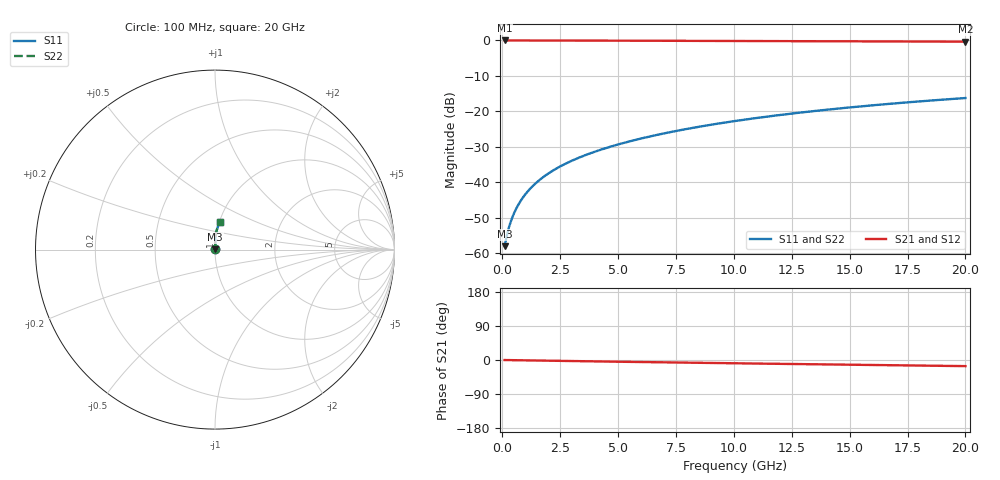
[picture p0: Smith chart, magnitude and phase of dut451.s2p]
! Touchstone file exported from HFSS 2024.1.0
!  File:  C:/UserFiles/LocalFiles/RDL_TSV_Batchsim/temp_RDL_top_451_1779677136.aedt
!  Generated:  10:47:49 AM May 25, 2026
!  Design:  RDL_top
!  Project:  temp_RDL_top_451_1779677136
!  Setup:  Setup1
!  Solution:  Sweep
! Variables:
!  dtsv = 10.80580581um
!  hbump = 3um
!  htsv = 80.75um
!  ldown = 100um
!  lrdl = 231.2um
!  p = 40
!  p1 = 41.04um
!  rhole = 1um
!  t = 450um
!  tdown = 3.915915916um
!  trdl = 4.59um
!  wdown = 15.38538539um
!  wrdl = 21.37um
# GHz S MA R 50.000000
! Terminal data exported
! Port[1] = Box2_T1
! Port[2] = Box2_T2
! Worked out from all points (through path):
!   200 points, 100 MHz to 20 GHz, reference 50 ohm
!   highest |S21| = -0.01 dB at 100 MHz (marker M1); lowest = -0.3 dB at 20 GHz (marker M2)
!   group delay of S21, straight-line fit = 2.22 ps
!   lowest |S11| = -58.0 dB at 100 MHz (marker M3), VSWR 1.00, Z = 50.1 + j0.0749 ohm
!   |S11| at or under -10 dB: start of sweep to end of sweep
!   |S22| runs from -58.0 to -16.3 dB; largest |S21 - S12| = 2.7e-15
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0.1  0.001253 36.7  0.999 -0.1  0.999 -0.1  0.001253 36.7
! Gamma 0 0 0 0
! Port Impedance 50 0 50 0
0.2  0.001798 53.6  0.9989 -0.2  0.9989 -0.2  0.001798 53.6
0.3  0.002389 62.1  0.9988 -0.3  0.9988 -0.3  0.002389 62.1
0.4  0.002993 67.4  0.9988 -0.4  0.9988 -0.4  0.002993 67.4
0.5  0.003606 71.1  0.9987 -0.5  0.9987 -0.5  0.003606 71.1
0.6  0.004229 73.8  0.9987 -0.6  0.9987 -0.6  0.004229 73.8
0.8  0.005495 77.5  0.9986 -0.8  0.9986 -0.8  0.005495 77.5
1.1  0.007429 80.9  0.9984 -1.0  0.9984 -1.0  0.007429 80.9
1.3  0.008732 82.3  0.9982 -1.2  0.9982 -1.2  0.008732 82.3
1.6  0.0107 83.9  0.998 -1.5  0.998 -1.5  0.0107 83.9
2.1  0.01401 85.6  0.9974 -2.0  0.9974 -2.0  0.01401 85.6
2.7  0.01804 86.9  0.9966 -2.5  0.9966 -2.5  0.01804 86.8
3.5  0.02349 87.9  0.9954 -3.2  0.9954 -3.2  0.02349 87.9
4.2  0.02836 88.6  0.9941 -3.8  0.9941 -3.8  0.02836 88.5
5  0.03406 89.0  0.9925 -4.5  0.9925 -4.5  0.03406 89.0
6.8  0.0474 89.3  0.9885 -6.1  0.9885 -6.1  0.04739 89.3
8.4  0.05979 88.9  0.9849 -7.4  0.9849 -7.4  0.05979 88.9
10.1  0.07337 88.1  0.9811 -8.7  0.9811 -8.7  0.07336 88.1
11.7  0.08638 87.0  0.9776 -9.9  0.9776 -9.9  0.08637 87.0
13.4  0.1003 85.7  0.974 -11.2  0.974 -11.2  0.1003 85.7
16.7  0.1273 82.9  0.9672 -13.7  0.9672 -13.7  0.1273 82.9
20  0.154 80.0  0.9605 -16.2  0.9605 -16.2  0.154 80.0
